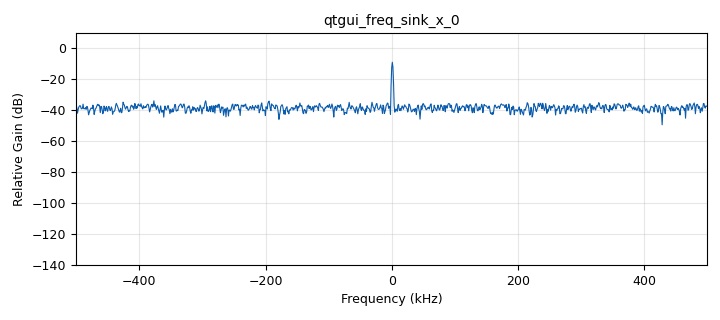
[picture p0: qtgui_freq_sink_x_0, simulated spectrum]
options:
  parameters:
    generate_options: qt_gui
    id: spectral_analysis
    output_language: python
    title: Not titled yet
  states: {}

blocks:
- name: n0
  id: variable
  parameters:
    comment: |-
      N0 = noise spectral density
      = noise power in 1 Hz bandwidth
    value: noise_amplitude**2 / samp_rate
  states: {}
- name: noise_amplitude
  id: variable_qtgui_entry
  parameters:
    label: Noise Amplitude
    type: real
    value: '1'
  states: {}
- name: samp_rate
  id: variable
  parameters:
    value: 1e6
  states: {}
- name: tone_amplitude
  id: variable
  parameters:
    value: np.sqrt(10**(tone_cn0 / 10) * n0)
  states: {}
- name: tone_cn0
  id: variable_qtgui_entry
  parameters:
    comment: CN0 = signal power / N0
    label: Tone CN0 (dB)
    type: real
    value: '60'
  states: {}
- name: analog_noise_source_x_0
  id: analog_noise_source_x
  parameters:
    amp: noise_amplitude
    noise_type: analog.GR_GAUSSIAN
    seed: '0'
    type: complex
  states: {}
- name: analog_sig_source_x_0
  id: analog_sig_source_x
  parameters:
    amp: tone_amplitude
    freq: '1000'
    offset: '0'
    phase: '0'
    samp_rate: samp_rate
    type: complex
    waveform: analog.GR_COS_WAVE
  states: {}
- name: blocks_add_xx_0
  id: blocks_add_xx
  parameters:
    type: complex
  states: {}
- name: blocks_throttle2_1
  id: blocks_throttle2
  parameters:
    samples_per_second: samp_rate
    type: complex
  states: {}
- name: import_0
  id: import
  parameters:
    imports: import numpy as np
  states: {}
- name: qtgui_freq_sink_x_0
  id: qtgui_freq_sink_x
  parameters:
    average: '0.2'
    bw: samp_rate
    fc: '0'
    fftsize: '1024'
    type: complex
  states: {}
- name: qtgui_time_sink_x_0
  id: qtgui_time_sink_x
  parameters:
    comment: Disable on Mac
    size: '512'
    srate: samp_rate
    type: complex
  states: {state: disabled}

connections:
- [analog_noise_source_x_0, '0', blocks_add_xx_0, '0']
- [analog_sig_source_x_0, '0', blocks_throttle2_1, '0']
- [blocks_add_xx_0, '0', qtgui_freq_sink_x_0, '0']
- [blocks_add_xx_0, '0', qtgui_time_sink_x_0, '0']
- [blocks_throttle2_1, '0', blocks_add_xx_0, '1']

metadata:
  file_format: 1
  grc_version: 3.10.12.0
